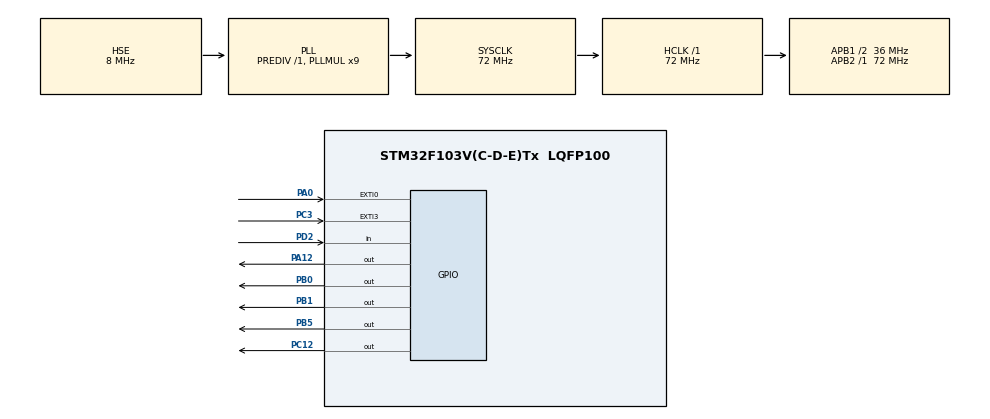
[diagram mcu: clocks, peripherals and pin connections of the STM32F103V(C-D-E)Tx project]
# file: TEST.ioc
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Mcu.Family=STM32F1
Mcu.Name=STM32F103V(C-D-E)Tx
Mcu.Package=LQFP100
NVIC.EXTI0_IRQn=true\:0\:0\:false\:false\:true\:true\:true\:true
NVIC.PriorityGroup=NVIC_PRIORITYGROUP_4
OSC_IN.Mode=HSE-External-Oscillator
OSC_IN.Signal=RCC_OSC_IN
OSC_OUT.Mode=HSE-External-Oscillator
OSC_OUT.Signal=RCC_OSC_OUT
PA0-WKUP.GPIO_ModeDefaultEXTI=GPIO_MODE_IT_RISING
PA0-WKUP.GPIO_PuPd=GPIO_PULLDOWN
PA0-WKUP.Signal=GPXTI0
PA12.GPIO_Speed=GPIO_SPEED_FREQ_HIGH
PA12.PinState=GPIO_PIN_SET
PA12.Signal=GPIO_Output
PA13.Mode=Serial_Wire
PA13.Signal=SYS_JTMS-SWDIO
PA14.Mode=Serial_Wire
PA14.Signal=SYS_JTCK-SWCLK
PB0.GPIO_Speed=GPIO_SPEED_FREQ_HIGH
PB0.PinState=GPIO_PIN_SET
PB0.Signal=GPIO_Output
PB1.GPIO_Speed=GPIO_SPEED_FREQ_HIGH
PB1.PinState=GPIO_PIN_SET
PB1.Signal=GPIO_Output
PB5.GPIO_Speed=GPIO_SPEED_FREQ_HIGH
PB5.PinState=GPIO_PIN_SET
PB5.Signal=GPIO_Output
PC12.GPIO_Speed=GPIO_SPEED_FREQ_HIGH
PC12.PinState=GPIO_PIN_SET
PC12.Signal=GPIO_Output
PC14-OSC32_IN.Mode=LSE-External-Oscillator
PC14-OSC32_IN.Signal=RCC_OSC32_IN
PC15-OSC32_OUT.Mode=LSE-External-Oscillator
PC15-OSC32_OUT.Signal=RCC_OSC32_OUT
PC3.GPIO_PuPd=GPIO_PULLUP
PC3.Signal=GPXTI3
PD2.GPIO_PuPd=GPIO_PULLUP
PD2.Signal=GPIO_Input
ProjectManager.HeapSize=0x200
ProjectManager.StackSize=0x400
ProjectManager.TargetToolchain=STM32CubeIDE
RCC.AHBFreq_Value=72000000
RCC.APB1CLKDivider=RCC_HCLK_DIV2
RCC.APB1Freq_Value=36000000
RCC.APB1TimFreq_Value=72000000
RCC.APB2Freq_Value=72000000
RCC.APB2TimFreq_Value=72000000
RCC.HCLKFreq_Value=72000000
RCC.PLLMUL=RCC_PLL_MUL9
RCC.PLLSourceVirtual=RCC_PLLSOURCE_HSE
RCC.SYSCLKFreq_VALUE=72000000
RCC.SYSCLKSource=RCC_SYSCLKSOURCE_PLLCLK
RCC.USBFreq_Value=72000000
board=custom

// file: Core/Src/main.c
/* USER CODE BEGIN Header */
/**
  ******************************************************************************
  * @file           : main.c
  * @brief          : Main program body
  ******************************************************************************
  * @attention
  *
  * Copyright (c) 2022 STMicroelectronics.
  * All rights reserved.
  *
  * This software is licensed under terms that can be found in the LICENSE file
  * in the root directory of this software component.
  * If no LICENSE file comes with this software, it is provided AS-IS.
  *
  ******************************************************************************
  */
/* USER CODE END Header */
#include "main.h"

void SystemClock_Config(void);
static void MX_GPIO_Init(void);

int main(void)
{
  /* USER CODE BEGIN 1 */
	/**
	 * SID: 20851871
	 * 20	VREF-
	 * 08	PC14-OSC32_IN	OSC32IN (32k Oscillator)
	 * 85	PD4
	 * 51	VB12
	 * 18	PC3
	 * 87	PD6
	 * 71	PA12
	 *
	 * -> usable pins: none :-D
	 *
	 * external key: C3
	 * external led: A12
	 */

  /* USER CODE END 1 */

  /* MCU Configuration--------------------------------------------------------*/

  /* Reset of all peripherals, Initializes the Flash interface and the Systick. */
  HAL_Init();

  /* Configure the system clock */
  SystemClock_Config();

  /* Initialize all configured peripherals */
  MX_GPIO_Init();

  /* Infinite loop */
  /* USER CODE BEGIN WHILE */
  int color_state = -1;
  int btn_ext_pressed = 0;
  uint32_t btn_ext_last_tick = 0;
  /**
   * 0 for red, PB5
   * 1 for blue, PB1
   * 2 for green, PB0
   */
  // Task 2 code
  while (1)
  {
	  //
	  if (HAL_GPIO_ReadPin(GPIOC, GPIO_PIN_3) == GPIO_PIN_RESET) { // pull-up / low when pressed
//	  if (HAL_GPIO_ReadPin(GPIOD, GPIO_PIN_2) == GPIO_PIN_SET) { // pull-down / high when pressed
		  if (!btn_ext_pressed) {
			  color_state = (color_state + 1) % 3;
			  btn_ext_pressed = 1;
			  switch (color_state) {
			  case 0:
				  HAL_GPIO_WritePin(GPIOB,GPIO_PIN_5,GPIO_PIN_RESET);
				  HAL_GPIO_WritePin(GPIOB,GPIO_PIN_0,GPIO_PIN_SET);
				  HAL_GPIO_WritePin(GPIOB,GPIO_PIN_1,GPIO_PIN_SET);
//				  HAL_GPIO_WritePin(GPIOC,GPIO_PIN_12,GPIO_PIN_SET);
				  break;
			  case 1:
				  HAL_GPIO_WritePin(GPIOB,GPIO_PIN_5,GPIO_PIN_SET);
				  HAL_GPIO_WritePin(GPIOB,GPIO_PIN_1,GPIO_PIN_RESET); // on state
				  HAL_GPIO_WritePin(GPIOB,GPIO_PIN_0,GPIO_PIN_SET);
//				  HAL_GPIO_WritePin(GPIOC,GPIO_PIN_12,GPIO_PIN_RESET);
				  break;
			  case 2:
				  HAL_GPIO_WritePin(GPIOB,GPIO_PIN_5,GPIO_PIN_SET);
				  HAL_GPIO_WritePin(GPIOB,GPIO_PIN_1,GPIO_PIN_SET);
				  HAL_GPIO_WritePin(GPIOB,GPIO_PIN_0,GPIO_PIN_RESET); // on state
//				  HAL_GPIO_WritePin(GPIOC,GPIO_PIN_12,GPIO_PIN_SET);
				  break;
			  default: break;
			  }
		  }
		  btn_ext_last_tick = HAL_GetTick();
	  } else {
		  if (HAL_GetTick() - btn_ext_last_tick > 25) { // debouncing
			  btn_ext_pressed = 0;
		  }
	  }

//	  HAL_Delay(100);

//	  HAL_GPIO_WritePin(GPIOB,GPIO_PIN_5,GPIO_PIN_SET);
//	  HAL_Delay(100);

    /* USER CODE END WHILE */

  }
}

void SystemClock_Config(void)
{
  RCC_OscInitTypeDef RCC_OscInitStruct = {0};
  RCC_ClkInitTypeDef RCC_ClkInitStruct = {0};

  /** Initializes the RCC Oscillators according to the specified parameters
  * in the RCC_OscInitTypeDef structure.
  */
  RCC_OscInitStruct.OscillatorType = RCC_OSCILLATORTYPE_HSE;
  RCC_OscInitStruct.HSEState = RCC_HSE_ON;
  RCC_OscInitStruct.HSEPredivValue = RCC_HSE_PREDIV_DIV1;
  RCC_OscInitStruct.HSIState = RCC_HSI_ON;
  RCC_OscInitStruct.PLL.PLLState = RCC_PLL_ON;
  RCC_OscInitStruct.PLL.PLLSource = RCC_PLLSOURCE_HSE;
  RCC_OscInitStruct.PLL.PLLMUL = RCC_PLL_MUL9;
  if (HAL_RCC_OscConfig(&RCC_OscInitStruct) != HAL_OK)
  {
    Error_Handler();
  }

  /** Initializes the CPU, AHB and APB buses clocks
  */
  RCC_ClkInitStruct.ClockType = RCC_CLOCKTYPE_HCLK|RCC_CLOCKTYPE_SYSCLK
                              |RCC_CLOCKTYPE_PCLK1|RCC_CLOCKTYPE_PCLK2;
  RCC_ClkInitStruct.SYSCLKSource = RCC_SYSCLKSOURCE_PLLCLK;
  RCC_ClkInitStruct.AHBCLKDivider = RCC_SYSCLK_DIV1;
  RCC_ClkInitStruct.APB1CLKDivider = RCC_HCLK_DIV2;
  RCC_ClkInitStruct.APB2CLKDivider = RCC_HCLK_DIV1;

  if (HAL_RCC_ClockConfig(&RCC_ClkInitStruct, FLASH_LATENCY_2) != HAL_OK)
  {
    Error_Handler();
  }
}

static void MX_GPIO_Init(void)
{
  GPIO_InitTypeDef GPIO_InitStruct = {0};

  /* GPIO Ports Clock Enable */
  __HAL_RCC_GPIOC_CLK_ENABLE();
  __HAL_RCC_GPIOA_CLK_ENABLE();
  __HAL_RCC_GPIOB_CLK_ENABLE();
  __HAL_RCC_GPIOD_CLK_ENABLE();

  /*Configure GPIO pin Output Level */
  HAL_GPIO_WritePin(GPIOB, GPIO_PIN_0|GPIO_PIN_1|GPIO_PIN_5, GPIO_PIN_SET);

  /*Configure GPIO pin Output Level */
  HAL_GPIO_WritePin(GPIOA, GPIO_PIN_12, GPIO_PIN_SET);

  /*Configure GPIO pin Output Level */
  HAL_GPIO_WritePin(GPIOC, GPIO_PIN_12, GPIO_PIN_SET);

  /*Configure GPIO pin : PC3 */
  GPIO_InitStruct.Pin = GPIO_PIN_3;
  GPIO_InitStruct.Mode = GPIO_MODE_IT_RISING;
  GPIO_InitStruct.Pull = GPIO_PULLUP;
  HAL_GPIO_Init(GPIOC, &GPIO_InitStruct);

  /*Configure GPIO pin : PA0 */
  GPIO_InitStruct.Pin = GPIO_PIN_0;
  GPIO_InitStruct.Mode = GPIO_MODE_IT_RISING;
  GPIO_InitStruct.Pull = GPIO_PULLDOWN;
  HAL_GPIO_Init(GPIOA, &GPIO_InitStruct);

  /*Configure GPIO pins : PB0 PB1 PB5 */
  GPIO_InitStruct.Pin = GPIO_PIN_0|GPIO_PIN_1|GPIO_PIN_5;
  GPIO_InitStruct.Mode = GPIO_MODE_OUTPUT_PP;
  GPIO_InitStruct.Pull = GPIO_NOPULL;
  GPIO_InitStruct.Speed = GPIO_SPEED_FREQ_HIGH;
  HAL_GPIO_Init(GPIOB, &GPIO_InitStruct);

  /*Configure GPIO pin : PA12 */
  GPIO_InitStruct.Pin = GPIO_PIN_12;
  GPIO_InitStruct.Mode = GPIO_MODE_OUTPUT_PP;
  GPIO_InitStruct.Pull = GPIO_NOPULL;
  GPIO_InitStruct.Speed = GPIO_SPEED_FREQ_HIGH;
  HAL_GPIO_Init(GPIOA, &GPIO_InitStruct);

  /*Configure GPIO pin : PC12 */
  GPIO_InitStruct.Pin = GPIO_PIN_12;
  GPIO_InitStruct.Mode = GPIO_MODE_OUTPUT_PP;
  GPIO_InitStruct.Pull = GPIO_NOPULL;
  GPIO_InitStruct.Speed = GPIO_SPEED_FREQ_HIGH;
  HAL_GPIO_Init(GPIOC, &GPIO_InitStruct);

  /*Configure GPIO pin : PD2 */
  GPIO_InitStruct.Pin = GPIO_PIN_2;
  GPIO_InitStruct.Mode = GPIO_MODE_INPUT;
  GPIO_InitStruct.Pull = GPIO_PULLUP;
  HAL_GPIO_Init(GPIOD, &GPIO_InitStruct);

  /* EXTI interrupt init*/
  HAL_NVIC_SetPriority(EXTI0_IRQn, 0, 0);
  HAL_NVIC_EnableIRQ(EXTI0_IRQn);

}

void Error_Handler(void)
{
  __disable_irq();
  while (1)
  {
  }
}
